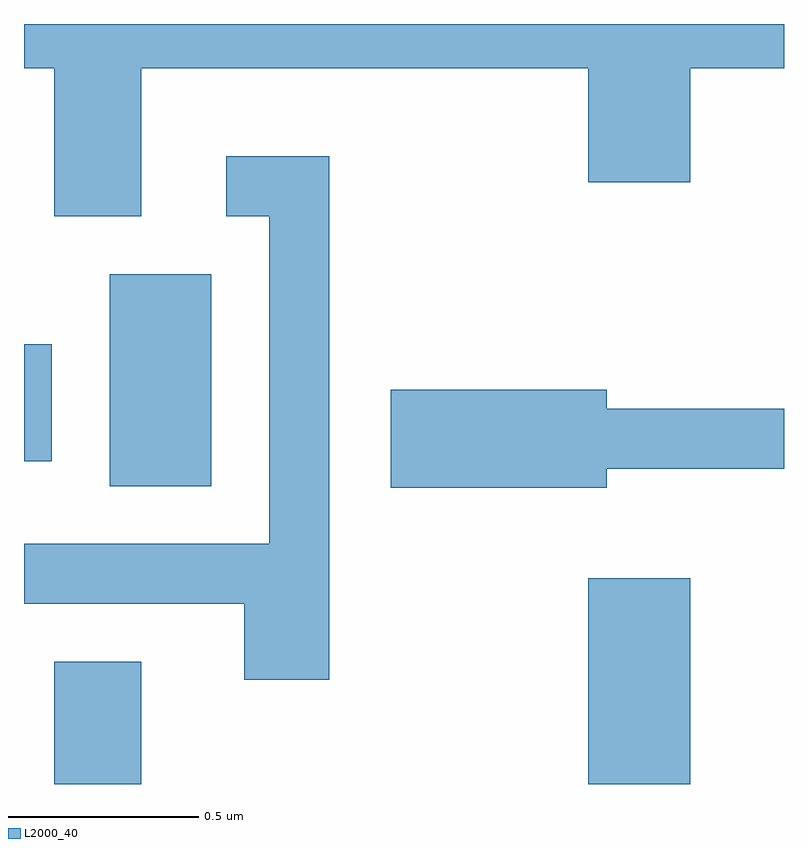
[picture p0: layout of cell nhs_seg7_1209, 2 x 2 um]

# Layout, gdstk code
import gdstk
lib = gdstk.Library(unit=1e-6, precision=1e-09)
def R(c, l, rs):  # rectangles x0, y0, x1, y1
    for r in rs: c.add(gdstk.rectangle(r[:2], r[2:], *l))
def P(c, l, *ps):  # polygons
    for p in ps: c.add(gdstk.Polygon(p, *l))
L2000_40 = (2000, 40)

nhs_seg7_1209 = lib.new_cell('nhs_seg7_1209')
R(nhs_seg7_1209, L2000_40, [(193.691,1781.252,193.919,1781.574), (195.096,1781.252,195.364,1781.794), (193.836,1782.036,194.104,1782.594), (193.611,1782.101,193.684,1782.409)])
P(nhs_seg7_1209, L2000_40, [(193.919,1783.136),(195.096,1783.136),(195.096,1782.836),(195.364,1782.836),(195.364,1783.136),(195.611,1783.136),(195.611,1783.252),(193.611,1783.252),(193.611,1783.136),(193.691,1783.136),(193.691,1782.746),(193.919,1782.746)],
  [(194.414,1782.904),(194.143,1782.904),(194.143,1782.746),(194.256,1782.746),(194.256,1781.884),(193.611,1781.884),(193.611,1781.726),(194.191,1781.726),(194.191,1781.526),(194.414,1781.526)],
  [(195.144,1782.081),(195.611,1782.081),(195.611,1782.239),(195.144,1782.239),(195.144,1782.289),(194.576,1782.289),(194.576,1782.031),(195.144,1782.031)])

lib.write_gds('nhs_seg7_1209.gds')
